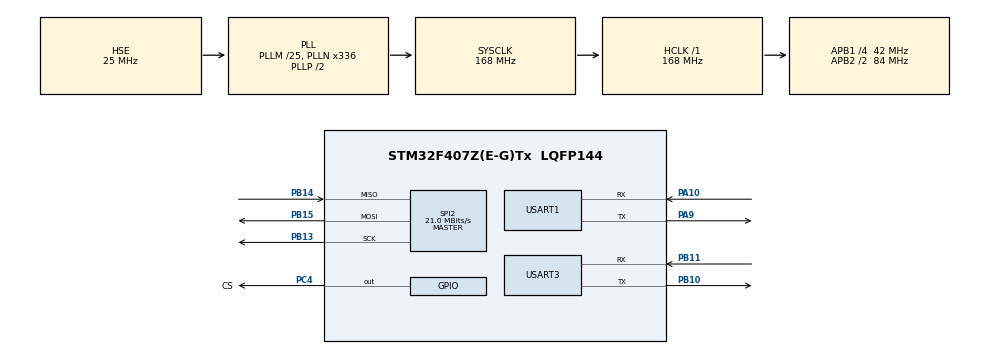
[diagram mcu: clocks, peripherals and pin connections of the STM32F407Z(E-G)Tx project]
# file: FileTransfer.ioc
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Dma.Request0=USART3_RX
Dma.Request1=USART3_TX
Dma.USART3_RX.0.Direction=DMA_PERIPH_TO_MEMORY
Dma.USART3_RX.0.FIFOMode=DMA_FIFOMODE_DISABLE
Dma.USART3_RX.0.Instance=DMA1_Stream1
Dma.USART3_RX.0.MemDataAlignment=DMA_MDATAALIGN_BYTE
Dma.USART3_RX.0.MemInc=DMA_MINC_ENABLE
Dma.USART3_RX.0.Mode=DMA_CIRCULAR
Dma.USART3_RX.0.PeriphDataAlignment=DMA_PDATAALIGN_BYTE
Dma.USART3_RX.0.PeriphInc=DMA_PINC_DISABLE
Dma.USART3_RX.0.Priority=DMA_PRIORITY_LOW
Dma.USART3_TX.1.Direction=DMA_MEMORY_TO_PERIPH
Dma.USART3_TX.1.FIFOMode=DMA_FIFOMODE_DISABLE
Dma.USART3_TX.1.Instance=DMA1_Stream3
Dma.USART3_TX.1.MemDataAlignment=DMA_MDATAALIGN_BYTE
Dma.USART3_TX.1.MemInc=DMA_MINC_ENABLE
Dma.USART3_TX.1.Mode=DMA_NORMAL
Dma.USART3_TX.1.PeriphDataAlignment=DMA_PDATAALIGN_BYTE
Dma.USART3_TX.1.PeriphInc=DMA_PINC_DISABLE
Dma.USART3_TX.1.Priority=DMA_PRIORITY_LOW
Mcu.Family=STM32F4
Mcu.Name=STM32F407Z(E-G)Tx
Mcu.Package=LQFP144
NVIC.DMA1_Stream1_IRQn=true\:0\:0\:false\:false\:true\:false\:true\:true
NVIC.DMA1_Stream3_IRQn=true\:0\:0\:false\:false\:true\:false\:true\:true
NVIC.PriorityGroup=NVIC_PRIORITYGROUP_4
NVIC.USART3_IRQn=true\:0\:0\:false\:false\:true\:false\:true\:true
PA10.Mode=Asynchronous
PA10.Signal=USART1_RX
PA9.Mode=Asynchronous
PA9.Signal=USART1_TX
PB10.Mode=Asynchronous
PB10.Signal=USART3_TX
PB11.Mode=Asynchronous
PB11.Signal=USART3_RX
PB13.Mode=Full_Duplex_Master
PB13.Signal=SPI2_SCK
PB14.Mode=Full_Duplex_Master
PB14.Signal=SPI2_MISO
PB15.Mode=Full_Duplex_Master
PB15.Signal=SPI2_MOSI
PC14-OSC32_IN.Mode=LSE-External-Oscillator
PC14-OSC32_IN.Signal=RCC_OSC32_IN
PC15-OSC32_OUT.Mode=LSE-External-Oscillator
PC15-OSC32_OUT.Signal=RCC_OSC32_OUT
PC4.GPIO_Label=CS
PC4.Signal=GPIO_Output
PH0-OSC_IN.Mode=HSE-External-Oscillator
PH0-OSC_IN.Signal=RCC_OSC_IN
PH1-OSC_OUT.Mode=HSE-External-Oscillator
PH1-OSC_OUT.Signal=RCC_OSC_OUT
ProjectManager.HeapSize=0x2000
ProjectManager.StackSize=0x4000
ProjectManager.TargetToolchain=STM32CubeIDE
RCC.48MHZClocksFreq_Value=84000000
RCC.AHBFreq_Value=168000000
RCC.APB1CLKDivider=RCC_HCLK_DIV4
RCC.APB1Freq_Value=42000000
RCC.APB1TimFreq_Value=84000000
RCC.APB2CLKDivider=RCC_HCLK_DIV2
RCC.APB2Freq_Value=84000000
RCC.APB2TimFreq_Value=168000000
RCC.CortexFreq_Value=168000000
RCC.HCLKFreq_Value=168000000
RCC.HSE_VALUE=25000000
RCC.HSI_VALUE=16000000
RCC.PLLM=25
RCC.PLLN=336
RCC.PLLSourceVirtual=RCC_PLLSOURCE_HSE
RCC.SYSCLKFreq_VALUE=168000000
RCC.SYSCLKSource=RCC_SYSCLKSOURCE_PLLCLK
RCC.VCOOutputFreq_Value=336000000
SPI2.CalculateBaudRate=21.0 MBits/s
SPI2.Direction=SPI_DIRECTION_2LINES
SPI2.Mode=SPI_MODE_MASTER
SPI2.VirtualType=VM_MASTER
USART1.VirtualMode=VM_ASYNC
USART3.VirtualMode=VM_ASYNC
board=custom

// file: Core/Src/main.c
/* USER CODE BEGIN Header */
/**
  ******************************************************************************
  * @file           : main.c
  * @brief          : Main program body
  ******************************************************************************
  * @attention
  *
  * Copyright (c) 2026 STMicroelectronics.
  * All rights reserved.
  *
  * This software is licensed under terms that can be found in the LICENSE file
  * in the root directory of this software component.
  * If no LICENSE file comes with this software, it is provided AS-IS.
  *
  ******************************************************************************
  */
/* USER CODE END Header */
#include "main.h"

/* USER CODE BEGIN Includes */
#include "file_transfer.h"
#include "W25Qxx.h"
#include "lfs.h"

/* USER CODE END Includes */

SPI_HandleTypeDef hspi2;

TIM_HandleTypeDef htim6;

UART_HandleTypeDef huart1;
UART_HandleTypeDef huart3;
DMA_HandleTypeDef hdma_usart3_rx;
DMA_HandleTypeDef hdma_usart3_tx;

/* USER CODE BEGIN PV */
/*	LittleFS Variables	*/
lfs_t lfs;

lfs_file_t file1;

lfs_dir_t dir;

struct lfs_info info;

uint8_t readBuffer[256];
uint32_t sizeFile1;
uint8_t sendingFlag = 0;
volatile uint8_t txBusy = 0;
/*	UART DMA Idle Mode Packet	*/
uint8_t uart3_rx_dma[1024];

/*	File Transfer Variables		*/

/*-----------------------------*/
/* USER CODE END PV */

void SystemClock_Config(void);
static void MX_GPIO_Init(void);
static void MX_DMA_Init(void);
static void MX_USART3_UART_Init(void);
static void MX_SPI2_Init(void);
static void MX_USART1_UART_Init(void);
/* USER CODE BEGIN PFP */

/*--------------------------
|							|
|	LittleFS Functions		|
| 							|
 --------------------------*/
int lfs_read(const struct lfs_config *c,
              lfs_block_t block,
              lfs_off_t off,
              void *buffer,
              lfs_size_t size)
{
    uint32_t addr = block * c->block_size + off;
    uint32_t page = addr / 256;
	uint32_t offset = addr % 256;
    W25Q_Read(page, offset, size, buffer);
    return 0;
}

int lfs_prog(const struct lfs_config *c,
              lfs_block_t block,
              lfs_off_t off,
              const void *buffer,
              lfs_size_t size)
{
	uint32_t addr = block * c->block_size + off;
	    const uint8_t *data = buffer;

	    while(size)
	    {
	        uint32_t page = addr / 256;
	        uint32_t offset = addr % 256;

	        uint32_t chunk = 256 - offset;
	        if(chunk > size) chunk = size;

	        W25Q_Write(page, offset, chunk, (uint8_t*)data);

	        addr += chunk;
	        data += chunk;
	        size -= chunk;
	    }
    return 0;
}

int lfs_erase(const struct lfs_config *c,
               lfs_block_t block)
{
    uint32_t addr = block * c->block_size;
    uint16_t numsector = addr / 4096;
    W25Q_Erase_Sector(numsector);
    return 0;
}

int lfs_sync(const struct lfs_config *c)
{
    return 0;
}

/*--------------------------
|							              |
|	USART IDEAL Mode		      |
| 							            |
 --------------------------*/
void HAL_UARTEx_RxEventCallback(UART_HandleTypeDef *huart,
                                uint16_t Size)
{
    if(huart->Instance == USART3)
    {
        for(uint16_t i = 0; i < Size; i++)
        {
            FT_processByte(uart3_rx_dma[i]);
        }

        HAL_UARTEx_ReceiveToIdle_DMA(&huart3,
                                     uart3_rx_dma,
                                     sizeof(uart3_rx_dma));

        __HAL_DMA_DISABLE_IT(&hdma_usart3_rx,
                             DMA_IT_HT);
    }
}

fileHandeler flhdl;
/*--------------------------
|							|
|	File From PC to MCU		|
| 							|
 --------------------------*/
void writeFileNOR(void){
	if(flhdl.writeFlag)
		  {
		      flhdl.writeFlag = 0;

		      flhdl.fsBusy = 1;

		      if(flhdl.sequenceWrite == 1)
		      {
		          lfs_file_open(&lfs,
		                        &file1,
		                        (char*)flhdl.filenameWrite,
		                        LFS_O_WRONLY |
		                        LFS_O_CREAT |
		                        LFS_O_TRUNC);
			      lfs_file_write(&lfs,
			                     &file1,
			                     (void*)flhdl.writeBuffer,
								 flhdl.payloadWrite);
		      }
		      else
		      {
			      lfs_file_write(&lfs,
			                     &file1,
			                     (void*)flhdl.writeBuffer,
								 flhdl.payloadWrite);
		      }

		      flhdl.fsBusy = 0;
		  }
	      if(flhdl.fileClose){
	    	  lfs_file_close(&lfs, &file1);
	    	  flhdl.fileClose = 0;
	      }
}

/*--------------------------
|							|
|	File From MCU to PC		|
| 							|
 --------------------------*/
void sendFileToPC(void){
	  if(flhdl.requestFile)
	  {
	      flhdl.requestFile = 0;

	      FT_SendFile(
	          (char*)flhdl.requestName
	      );
	  }
}
/* USER CODE END PFP */

/* USER CODE BEGIN 0 */
/*------------------------------
|								|
|	LittleFS Configuration		|
| 								|
 ------------------------------*/
struct lfs_config cfg =
{
.read  = lfs_read,
.prog  = lfs_prog,
.erase = lfs_erase,
.sync  = lfs_sync,

.read_size = 256,
.prog_size = 256,
.block_size = 4096,
.block_count = 1024,
.cache_size = 1024,
.lookahead_size = 64,
.block_cycles = 500
};

/* USER CODE END 0 */

int main(void)
{

  /* MCU Configuration--------------------------------------------------------*/

  /* Reset of all peripherals, Initializes the Flash interface and the Systick. */
  HAL_Init();

  /* Configure the system clock */
  SystemClock_Config();

  /* Initialize all configured peripherals */
  MX_GPIO_Init();
  MX_DMA_Init();
  MX_USART3_UART_Init();
  MX_SPI2_Init();
  MX_USART1_UART_Init();
  /* USER CODE BEGIN 2 */
  HAL_UARTEx_ReceiveToIdle_DMA(&huart3,
                               uart3_rx_dma,
                               sizeof(uart3_rx_dma));
  W25Q_Reset();
  uint32_t ID = 0;
  ID = W25Q_ReadID();
  if(ID == 0){
	  printf("failed to initialize Flash Memory\n");
  }

  int err = lfs_mount(&lfs, &cfg);
  int err1 = 0 ;
  if (err < 0)
  {
      printf("file open failed %d\n", err);
  }
  if (err)
  {
      lfs_format(&lfs, &cfg);
      err1 = lfs_mount(&lfs, &cfg);
  }
  if (err1 < 0)
    {
        printf("file open failed %d\n", err1);
    }

  /* USER CODE END 2 */

  /* Infinite loop */
  /* USER CODE BEGIN WHILE */
  lfs_dir_open(&lfs, &dir, "/");

  while (lfs_dir_read(&lfs, &dir, &info) > 0)
  {
	  char buf_info[300];
      sprintf(buf_info,"File: %s, size:%ld\n", info.name, info.size);
      HAL_UART_Transmit(&huart1, (uint8_t *)buf_info, strlen(buf_info), 100);
  }

  lfs_dir_close(&lfs, &dir);
  flhdl.requestFile = 1;
  while (1)
  {
    /* USER CODE END WHILE */

    /* USER CODE BEGIN 3 */
	  writeFileNOR();
	  sendFileToPC();

  }
  /* USER CODE END 3 */
}

void SystemClock_Config(void)
{
  RCC_OscInitTypeDef RCC_OscInitStruct = {0};
  RCC_ClkInitTypeDef RCC_ClkInitStruct = {0};

  /** Configure the main internal regulator output voltage
  */
  __HAL_RCC_PWR_CLK_ENABLE();
  __HAL_PWR_VOLTAGESCALING_CONFIG(PWR_REGULATOR_VOLTAGE_SCALE1);

  /** Initializes the RCC Oscillators according to the specified parameters
  * in the RCC_OscInitTypeDef structure.
  */
  RCC_OscInitStruct.OscillatorType = RCC_OSCILLATORTYPE_HSE;
  RCC_OscInitStruct.HSEState = RCC_HSE_ON;
  RCC_OscInitStruct.PLL.PLLState = RCC_PLL_ON;
  RCC_OscInitStruct.PLL.PLLSource = RCC_PLLSOURCE_HSE;
  RCC_OscInitStruct.PLL.PLLM = 25;
  RCC_OscInitStruct.PLL.PLLN = 336;
  RCC_OscInitStruct.PLL.PLLP = RCC_PLLP_DIV2;
  RCC_OscInitStruct.PLL.PLLQ = 4;
  if (HAL_RCC_OscConfig(&RCC_OscInitStruct) != HAL_OK)
  {
    Error_Handler();
  }

  /** Initializes the CPU, AHB and APB buses clocks
  */
  RCC_ClkInitStruct.ClockType = RCC_CLOCKTYPE_HCLK|RCC_CLOCKTYPE_SYSCLK
                              |RCC_CLOCKTYPE_PCLK1|RCC_CLOCKTYPE_PCLK2;
  RCC_ClkInitStruct.SYSCLKSource = RCC_SYSCLKSOURCE_PLLCLK;
  RCC_ClkInitStruct.AHBCLKDivider = RCC_SYSCLK_DIV1;
  RCC_ClkInitStruct.APB1CLKDivider = RCC_HCLK_DIV4;
  RCC_ClkInitStruct.APB2CLKDivider = RCC_HCLK_DIV2;

  if (HAL_RCC_ClockConfig(&RCC_ClkInitStruct, FLASH_LATENCY_5) != HAL_OK)
  {
    Error_Handler();
  }
}

static void MX_SPI2_Init(void)
{

  /* SPI2 parameter configuration*/
  hspi2.Instance = SPI2;
  hspi2.Init.Mode = SPI_MODE_MASTER;
  hspi2.Init.Direction = SPI_DIRECTION_2LINES;
  hspi2.Init.DataSize = SPI_DATASIZE_8BIT;
  hspi2.Init.CLKPolarity = SPI_POLARITY_LOW;
  hspi2.Init.CLKPhase = SPI_PHASE_1EDGE;
  hspi2.Init.NSS = SPI_NSS_SOFT;
  hspi2.Init.BaudRatePrescaler = SPI_BAUDRATEPRESCALER_2;
  hspi2.Init.FirstBit = SPI_FIRSTBIT_MSB;
  hspi2.Init.TIMode = SPI_TIMODE_DISABLE;
  hspi2.Init.CRCCalculation = SPI_CRCCALCULATION_DISABLE;
  hspi2.Init.CRCPolynomial = 10;
  if (HAL_SPI_Init(&hspi2) != HAL_OK)
  {
    Error_Handler();
  }

}

static void MX_USART1_UART_Init(void)
{

  huart1.Instance = USART1;
  huart1.Init.BaudRate = 115200;
  huart1.Init.WordLength = UART_WORDLENGTH_8B;
  huart1.Init.StopBits = UART_STOPBITS_1;
  huart1.Init.Parity = UART_PARITY_NONE;
  huart1.Init.Mode = UART_MODE_TX_RX;
  huart1.Init.HwFlowCtl = UART_HWCONTROL_NONE;
  huart1.Init.OverSampling = UART_OVERSAMPLING_16;
  if (HAL_UART_Init(&huart1) != HAL_OK)
  {
    Error_Handler();
  }

}

static void MX_USART3_UART_Init(void)
{

  huart3.Instance = USART3;
  huart3.Init.BaudRate = 115200;
  huart3.Init.WordLength = UART_WORDLENGTH_8B;
  huart3.Init.StopBits = UART_STOPBITS_1;
  huart3.Init.Parity = UART_PARITY_NONE;
  huart3.Init.Mode = UART_MODE_TX_RX;
  huart3.Init.HwFlowCtl = UART_HWCONTROL_NONE;
  huart3.Init.OverSampling = UART_OVERSAMPLING_16;
  if (HAL_UART_Init(&huart3) != HAL_OK)
  {
    Error_Handler();
  }

}

static void MX_DMA_Init(void)
{

  /* DMA controller clock enable */
  __HAL_RCC_DMA1_CLK_ENABLE();

  /* DMA interrupt init */
  /* DMA1_Stream1_IRQn interrupt configuration */
  HAL_NVIC_SetPriority(DMA1_Stream1_IRQn, 0, 0);
  HAL_NVIC_EnableIRQ(DMA1_Stream1_IRQn);
  /* DMA1_Stream3_IRQn interrupt configuration */
  HAL_NVIC_SetPriority(DMA1_Stream3_IRQn, 0, 0);
  HAL_NVIC_EnableIRQ(DMA1_Stream3_IRQn);

}

static void MX_GPIO_Init(void)
{
  GPIO_InitTypeDef GPIO_InitStruct = {0};

  /* GPIO Ports Clock Enable */
  __HAL_RCC_GPIOC_CLK_ENABLE();
  __HAL_RCC_GPIOH_CLK_ENABLE();
  __HAL_RCC_GPIOB_CLK_ENABLE();
  __HAL_RCC_GPIOA_CLK_ENABLE();

  /*Configure GPIO pin Output Level */
  HAL_GPIO_WritePin(CS_GPIO_Port, CS_Pin, GPIO_PIN_RESET);

  /*Configure GPIO pin : CS_Pin */
  GPIO_InitStruct.Pin = CS_Pin;
  GPIO_InitStruct.Mode = GPIO_MODE_OUTPUT_PP;
  GPIO_InitStruct.Pull = GPIO_NOPULL;
  GPIO_InitStruct.Speed = GPIO_SPEED_FREQ_LOW;
  HAL_GPIO_Init(CS_GPIO_Port, &GPIO_InitStruct);

}

void Error_Handler(void)
{
  __disable_irq();
  while (1)
  {
  }
}
